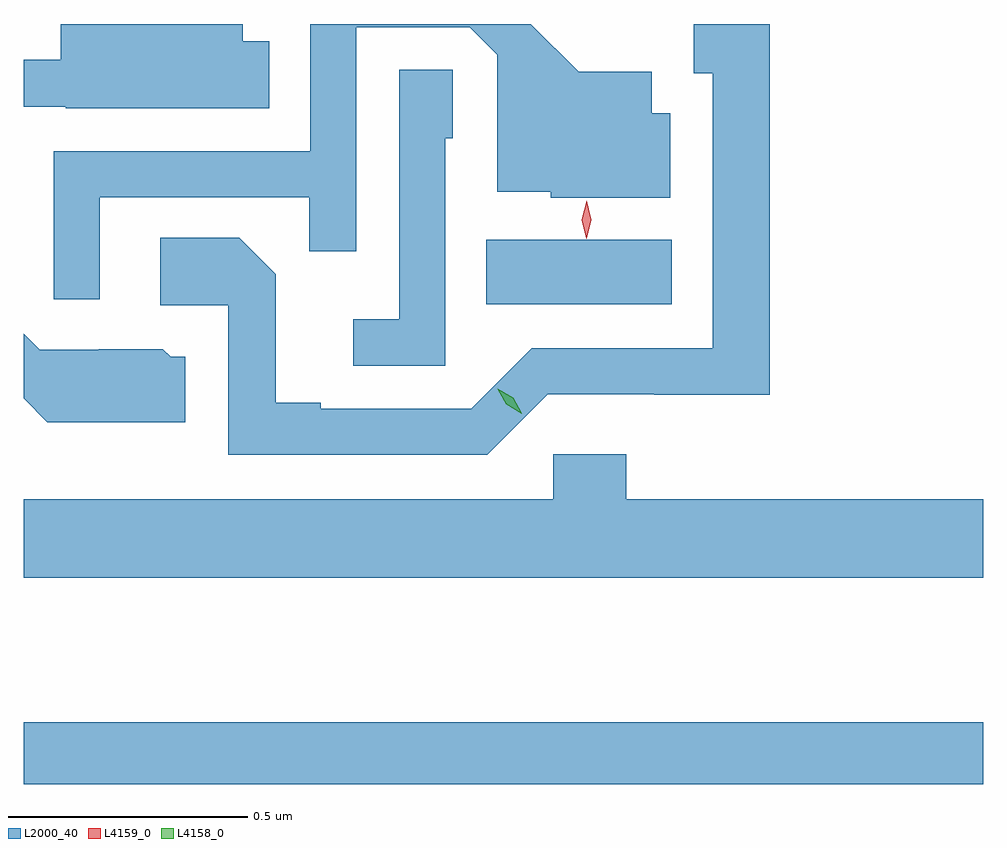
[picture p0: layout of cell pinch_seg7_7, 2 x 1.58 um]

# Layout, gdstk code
import gdstk
lib = gdstk.Library(unit=1e-6, precision=1e-09)
def R(c, l, rs):  # rectangles x0, y0, x1, y1
    for r in rs: c.add(gdstk.rectangle(r[:2], r[2:], *l))
def P(c, l, *ps):  # polygons
    for p in ps: c.add(gdstk.Polygon(p, *l))
L2000_40 = (2000, 40)
L4158_0 = (4158, 0)
L4159_0 = (4159, 0)

pinch_seg7_7 = lib.new_cell('pinch_seg7_7')
R(pinch_seg7_7, L2000_40, [(1034.616,1074.778,1036.616,1074.907), (1035.58,1075.778,1035.967,1075.912)])
P(pinch_seg7_7, L2000_40, [(1034.775,1076.001),(1035.211,1076.001),(1035.211,1075.888),(1035.309,1075.888),(1035.309,1076.355),(1035.546,1076.355),(1035.603,1076.298),(1035.603,1076.012),(1035.714,1076.012),(1035.714,1076),(1035.964,1076),(1035.964,1076.176),(1035.925,1076.176),(1035.925,1076.263),(1035.773,1076.263),(1035.673,1076.362),(1035.213,1076.362),(1035.213,1076.097),(1034.679,1076.097),(1034.679,1075.788),(1034.775,1075.788)],
  [(1035.708,1075.59),(1035.93,1075.59),(1035.93,1075.589),(1036.171,1075.589),(1036.171,1076.362),(1036.013,1076.362),(1036.013,1076.259),(1036.052,1076.259),(1036.052,1075.686),(1035.675,1075.686),(1035.549,1075.56),(1035.235,1075.56),(1035.235,1075.573),(1035.141,1075.573),(1035.141,1075.84),(1035.065,1075.916),(1034.901,1075.916),(1034.901,1075.776),(1035.042,1075.776),(1035.042,1075.464),(1035.582,1075.464)],
  [(1035.128,1076.326),(1035.073,1076.326),(1035.073,1076.362),(1034.693,1076.362),(1034.693,1076.287),(1034.616,1076.287),(1034.616,1076.19),(1034.704,1076.19),(1034.704,1076.186),(1035.128,1076.186)],
  [(1035.495,1076.124),(1035.51,1076.124),(1035.51,1076.267),(1035.399,1076.267),(1035.399,1075.747),(1035.303,1075.747),(1035.303,1075.65),(1035.495,1075.65)],
  [(1034.953,1075.668),(1034.922,1075.668),(1034.906,1075.684),(1034.772,1075.684),(1034.772,1075.683),(1034.649,1075.683),(1034.616,1075.716),(1034.616,1075.582),(1034.665,1075.532),(1034.953,1075.532)],
  [(1036.616,1075.372),(1035.872,1075.372),(1035.872,1075.465),(1035.72,1075.465),(1035.72,1075.372),(1034.616,1075.372),(1034.616,1075.208),(1036.616,1075.208)])
P(pinch_seg7_7, L4158_0, [(1035.654,1075.55),(1035.622,1075.569),(1035.604,1075.601),(1035.604,1075.602),(1035.604,1075.602),(1035.636,1075.583),(1035.654,1075.551),(1035.654,1075.55)])
P(pinch_seg7_7, L4159_0, [(1035.789,1075.914),(1035.788,1075.915),(1035.779,1075.954),(1035.789,1075.994),(1035.789,1075.994),(1035.79,1075.994),(1035.799,1075.954),(1035.789,1075.915)])

lib.write_gds('pinch_seg7_7.gds')
